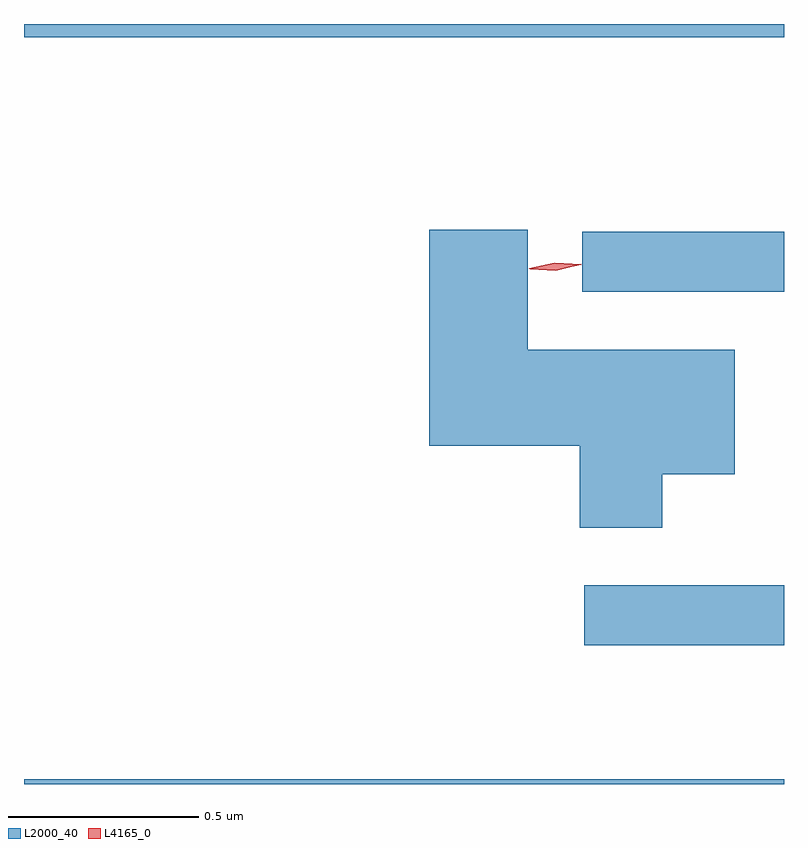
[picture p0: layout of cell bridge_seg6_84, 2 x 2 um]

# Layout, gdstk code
import gdstk
lib = gdstk.Library(unit=1e-6, precision=1e-09)
def R(c, l, rs):  # rectangles x0, y0, x1, y1
    for r in rs: c.add(gdstk.rectangle(r[:2], r[2:], *l))
def P(c, l, *ps):  # polygons
    for p in ps: c.add(gdstk.Polygon(p, *l))
L2000_40 = (2000, 40)
L4165_0 = (4165, 0)

bridge_seg6_84 = lib.new_cell('bridge_seg6_84')
R(bridge_seg6_84, L2000_40, [(1312.729,1663.511,1314.729,1663.524), (1314.203,1663.876,1314.729,1664.034), (1314.198,1664.806,1314.729,1664.964), (1312.729,1665.476,1314.729,1665.511)])
P(bridge_seg6_84, L2000_40, [(1314.409,1664.326),(1314.599,1664.326),(1314.599,1664.654),(1314.054,1664.654),(1314.054,1664.969),(1313.796,1664.969),(1313.796,1664.401),(1314.191,1664.401),(1314.191,1664.186),(1314.409,1664.186)])
P(bridge_seg6_84, L4165_0, [(1314.128,1664.863),(1314.058,1664.867),(1314.058,1664.868),(1314.058,1664.868),(1314.126,1664.883),(1314.196,1664.879),(1314.196,1664.879),(1314.196,1664.878)],
  [(1314.128,1664.862),(1314.061,1664.865),(1314.061,1664.865),(1314.061,1664.866),(1314.126,1664.881),(1314.192,1664.878),(1314.193,1664.878),(1314.192,1664.877)])

lib.write_gds('bridge_seg6_84.gds')
